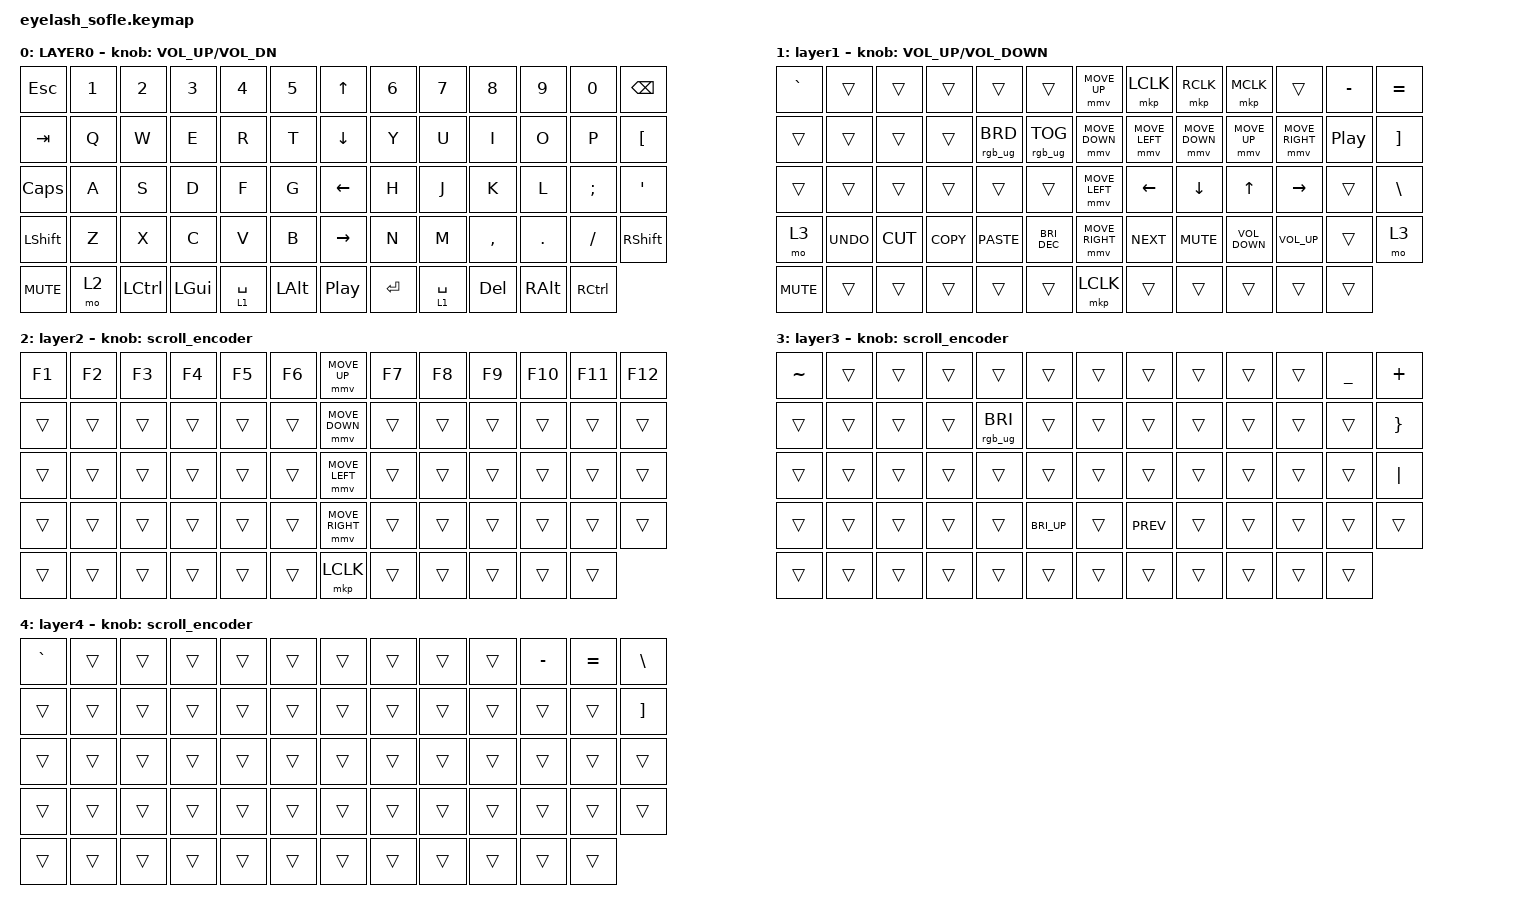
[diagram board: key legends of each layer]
#define ZMK_POINTING_DEFAULT_MOVE_VAL 1200  // 600
#define ZMK_POINTING_DEFAULT_SCRL_VAL 25   // 10

#include <input/processors.dtsi>
#include <zephyr/dt-bindings/input/input-event-codes.h>
#include <behaviors.dtsi>
#include <dt-bindings/zmk/keys.h>
#include <dt-bindings/zmk/pointing.h>
#include <dt-bindings/zmk/rgb.h>

&mmv_input_listener { input-processors = <&zip_xy_scaler 2 1>; };

&msc_input_listener { input-processors = <&zip_scroll_scaler 2 1>; };

&msc {
    acceleration-exponent = <1>;      // 0
    time-to-max-speed-ms = <100>;       // 300
    delay-ms = <0>;                   // 0
};

&mmv {
    time-to-max-speed-ms = <500>;
    acceleration-exponent = <1>;
    trigger-period-ms = <16>;
};

&soft_off { hold-time-ms = <2000>; };

/ {
    scroll_encoder: scroll_encoder {
        compatible = "zmk,behavior-sensor-rotate";
        #sensor-binding-cells = <0>;
        bindings = <&msc SCRL_DOWN>, <&msc SCRL_UP>;

        tap-ms = <100>;
    };

    behaviors {
    };

    combos { compatible = "zmk,combos"; };

    macros {
        SHIFT_MCLK: SHIFT_MCLK {
            compatible = "zmk,behavior-macro";
            #binding-cells = <0>;
            bindings =
                <&macro_press>,
                <&kp LEFT_SHIFT>,
                <&macro_press>,
                <&mkp MB3>,
                <&macro_pause_for_release>,
                <&macro_release>,
                <&kp LEFT_SHIFT &mkp MB3>;

            label = "SHIFT_MCLK";
        };
    };

    keymap {
        compatible = "zmk,keymap";

        layer0 {
            bindings = <
&kp ESC     &kp N1  &kp N2            &kp N3        &kp N4       &kp N5      &kp UP_ARROW      &kp N6     &kp N7       &kp N8      &kp N9         &kp N0             &kp BACKSPACE
&kp TAB     &kp Q   &kp W             &kp E         &kp R        &kp T       &kp DOWN_ARROW    &kp Y      &kp U        &kp I       &kp O          &kp P              &kp LEFT_BRACKET
&kp CAPS    &kp A   &kp S             &kp D         &kp F        &kp G       &kp LEFT_ARROW    &kp H      &kp J        &kp K       &kp L          &kp SEMICOLON      &kp APOS
&kp LSHFT   &kp Z   &kp X             &kp C         &kp V        &kp B       &kp RIGHT_ARROW   &kp N      &kp M        &kp COMMA   &kp DOT        &kp FSLH           &kp RIGHT_SHIFT
&kp C_MUTE  &mo 2   &kp LEFT_CONTROL  &kp LEFT_GUI  &lt 1 SPACE  &kp LALT    &kp C_PLAY_PAUSE  &kp ENTER  &lt 1 SPACE  &kp DELETE  &kp RIGHT_ALT  &kp RIGHT_CONTROL
            >;

            sensor-bindings = <&inc_dec_kp C_VOLUME_UP C_VOL_DN>;
            display-name = "LAYER0";
        };

        layer_1 {
            bindings = <
&kp GRAVE   &trans      &trans     &trans      &trans           &trans                  &mmv MOVE_UP     &mkp LCLK       &mkp RCLK       &mkp MCLK          &trans           &kp MINUS         &kp EQUAL
&trans      &trans      &trans     &trans      &rgb_ug RGB_BRD  &rgb_ug RGB_TOG         &mmv MOVE_DOWN   &mmv MOVE_LEFT  &mmv MOVE_DOWN  &mmv MOVE_UP       &mmv MOVE_RIGHT  &kp C_PLAY_PAUSE  &kp RIGHT_BRACKET
&trans      &trans      &trans     &trans      &trans           &trans                  &mmv MOVE_LEFT   &kp LEFT_ARROW  &kp DOWN_ARROW  &kp UP_ARROW       &kp RIGHT        &trans            &kp BACKSLASH
&mo 3       &kp K_UNDO  &kp K_CUT  &kp K_COPY  &kp K_PASTE      &kp C_BRIGHTNESS_DEC    &mmv MOVE_RIGHT  &kp C_NEXT      &kp K_MUTE      &kp C_VOLUME_DOWN  &kp C_VOLUME_UP  &trans            &mo 3
&kp C_MUTE  &trans      &trans     &trans      &trans           &trans                  &mkp LCLK        &trans          &trans          &trans             &trans           &trans
            >;

            display-name = "layer1";
            sensor-bindings = <&inc_dec_kp C_VOLUME_UP C_VOLUME_DOWN>;
        };

        layer_2 {
            bindings = <
&kp F1  &kp F2  &kp F3  &kp F4  &kp F5  &kp F6    &mmv MOVE_UP     &kp F7  &kp F8  &kp F9  &kp F10  &kp F11  &kp F12
&trans  &trans  &trans  &trans  &trans  &trans    &mmv MOVE_DOWN   &trans  &trans  &trans  &trans   &trans   &trans
&trans  &trans  &trans  &trans  &trans  &trans    &mmv MOVE_LEFT   &trans  &trans  &trans  &trans   &trans   &trans
&trans  &trans  &trans  &trans  &trans  &trans    &mmv MOVE_RIGHT  &trans  &trans  &trans  &trans   &trans   &trans
&trans  &trans  &trans  &trans  &trans  &trans    &mkp LCLK        &trans  &trans  &trans  &trans   &trans
            >;

            display-name = "layer2";
            sensor-bindings = <&scroll_encoder>;
        };

        layer_3 {
            bindings = <
&kp TILDE  &trans  &trans  &trans  &trans           &trans          &trans  &trans      &trans  &trans  &trans  &kp UNDERSCORE  &kp PLUS
&trans     &trans  &trans  &trans  &rgb_ug RGB_BRI  &trans          &trans  &trans      &trans  &trans  &trans  &trans          &kp RIGHT_BRACE
&trans     &trans  &trans  &trans  &trans           &trans          &trans  &trans      &trans  &trans  &trans  &trans          &kp PIPE
&trans     &trans  &trans  &trans  &trans           &kp C_BRI_UP    &trans  &kp C_PREV  &trans  &trans  &trans  &trans          &trans
&trans     &trans  &trans  &trans  &trans           &trans          &trans  &trans      &trans  &trans  &trans  &trans
            >;

            display-name = "layer3";
            sensor-bindings = <&scroll_encoder>;
        };

        layer_4 {
            bindings = <
&kp GRAVE  &trans  &trans  &trans  &trans  &trans    &trans  &trans  &trans  &trans  &kp MINUS  &kp EQUAL  &kp BACKSLASH
&trans     &trans  &trans  &trans  &trans  &trans    &trans  &trans  &trans  &trans  &trans     &trans     &kp RIGHT_BRACKET
&trans     &trans  &trans  &trans  &trans  &trans    &trans  &trans  &trans  &trans  &trans     &trans     &trans
&trans     &trans  &trans  &trans  &trans  &trans    &trans  &trans  &trans  &trans  &trans     &trans     &trans
&trans     &trans  &trans  &trans  &trans  &trans    &trans  &trans  &trans  &trans  &trans     &trans
            >;

            display-name = "layer4";
            sensor-bindings = <&scroll_encoder>;
        };
    };
};
